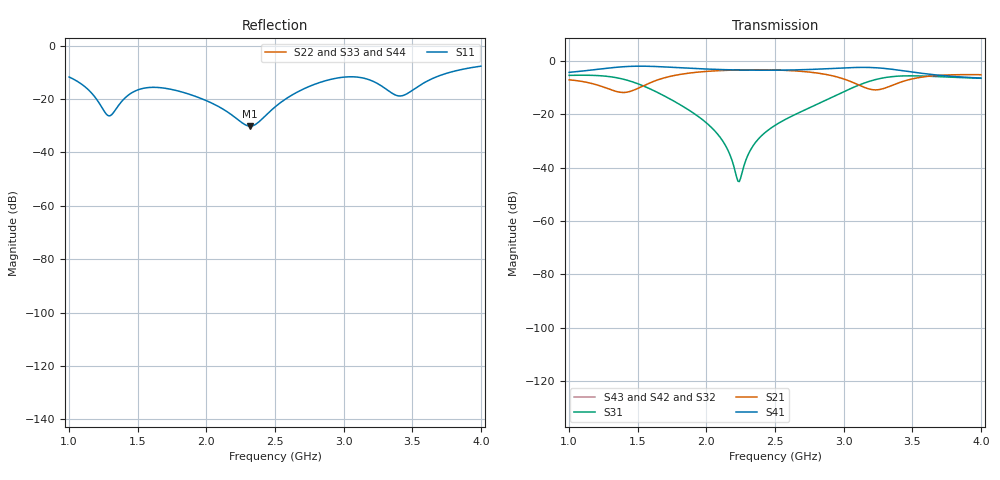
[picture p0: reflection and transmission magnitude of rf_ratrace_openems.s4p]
! kicad2ems openEMS FDTD (rf_ratrace); not computed (written as 0): S(P2,P2), S(P2,P3), S(P2,P4), S(P3,P2), S(P3,P3), S(P3,P4), S(P4,P2), S(P4,P3), S(P4,P4)
! ports: 1=P1, 2=P2, 3=P3, 4=P4
# Hz S RI R 50
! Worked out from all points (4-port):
!   301 points, 1 GHz to 4 GHz, reference 50 ohm
!   strongest paths, dB at 1 GHz, 1.75 GHz, 2.5 GHz, 3.25 GHz, 4 GHz:
!     S41: -4.3, -2.4, -3.5, -2.7, -6.5
!     S21: -7.1, -5.7, -3.5, -10.9, -5.2
!     S31: -5.5, -14.7, -24.2, -6.8, -6.6
!     S43: -, -, -, -, -
!     S42: -, -, -, -, -
!     S32: -, -, -, -, -
!   lowest |S11| = -30.2 dB at 2.32 GHz (marker M1), VSWR 1.06, Z = 47.4 + j1.56 ohm
!   |S11| at or under -10 dB: start of sweep to 3.776 GHz
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1e9  0.0302 0.2561  0.1344 -0.4193  -0.3359 -0.4144  -0.3295 -0.5101
     0.1344 -0.4193  0 0  0 0  0 0
     -0.3359 -0.4144  0 0  0 0  0 0
     -0.3295 -0.5101  0 0  0 0  0 0
1.29e9  -0.0158 0.0456  0.00263 -0.296  -0.506 0.0281  -0.7068 -0.1877
        0.00263 -0.296  0 0  0 0  0 0
        -0.506 0.0281  0 0  0 0  0 0
        -0.7068 -0.1877  0 0  0 0  0 0
1.48e9  -0.1136 0.0828  0.1103 -0.2662  -0.2798 0.2695  -0.7487 0.2543
        0.1103 -0.2662  0 0  0 0  0 0
        -0.2798 0.2695  0 0  0 0  0 0
        -0.7487 0.2543  0 0  0 0  0 0
2.23e9  -0.0158 0.0378  -0.4625 -0.4883  -0.0021 0.00515  0.4684 0.4823
        -0.4625 -0.4883  0 0  0 0  0 0
        -0.0021 0.00515  0 0  0 0  0 0
        0.4684 0.4823  0 0  0 0  0 0
2.32e9  -0.0262 0.0164  -0.5404 -0.4089  -0.0203 -0.00533  0.5556 0.3692
        -0.5404 -0.4089  0 0  0 0  0 0
        -0.0203 -0.00533  0 0  0 0  0 0
        0.5556 0.3692  0 0  0 0  0 0
3.14e9  -0.1739 0.1759  -0.255 0.2038  -0.2096 0.3101  0.0319 -0.7515
        -0.255 0.2038  0 0  0 0  0 0
        -0.2096 0.3101  0 0  0 0  0 0
        0.0319 -0.7515  0 0  0 0  0 0
4e9  -0.2912 0.2904  -0.1659 0.5229  0.4285 -0.1933  -0.4093 0.2418
     -0.1659 0.5229  0 0  0 0  0 0
     0.4285 -0.1933  0 0  0 0  0 0
     -0.4093 0.2418  0 0  0 0  0 0
